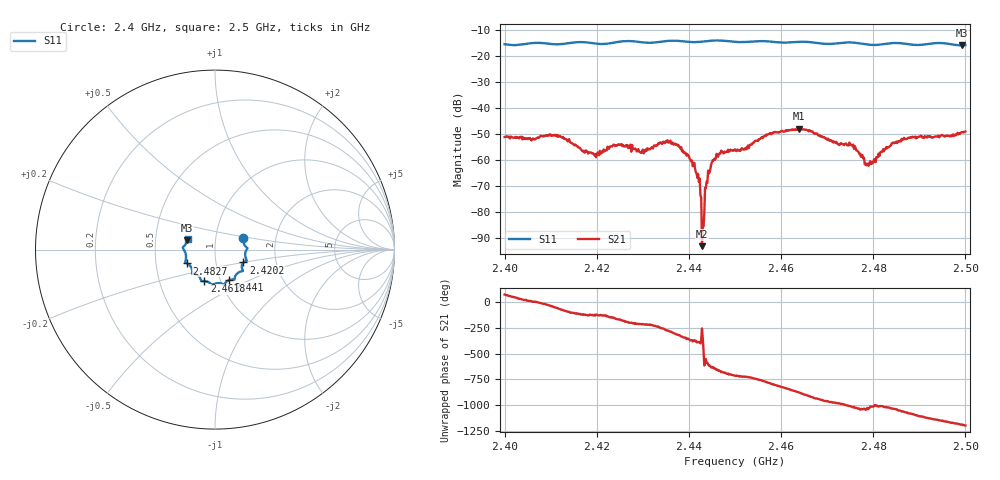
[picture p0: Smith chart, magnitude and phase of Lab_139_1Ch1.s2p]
# Hz S RI R 50
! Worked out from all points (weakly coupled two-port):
!   601 points, 2.4 GHz to 2.5 GHz, reference 50 ohm
!   highest |S21| = -47.87 dB at 2.4638 GHz (marker M1); lowest = -93.2 dB at 2.4428 GHz (marker M2)
!   lowest |S11| = -15.8 dB at 2.4993 GHz (marker M3), VSWR 1.39, Z = 36.5 + j3.82 ohm
!   |S11| at or under -10 dB: start of sweep to end of sweep
!   S12 and S22 are empty: the file has one direction only
!   S11 on the Smith chart (normalised r, x): 2.4 GHz: 1.36, +0.18; 2.4202 GHz: 1.36, -0.20; 2.441 GHz: 1.10, -0.39; 2.4618 GHz: 0.84, -0.30; 2.4827 GHz: 0.72, -0.12; 2.5 GHz: 0.73, +0.09
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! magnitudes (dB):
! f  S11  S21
! 2.4 GHz  -15.4  -51.1
! 2.411 GHz  -15.4  -50.5
! 2.4167 GHz  -14.5  -56.1
! 2.4202 GHz  -15.2  -57.1
! 2.4333 GHz  -14.5  -53.6
! 2.4375 GHz  -14.1  -54.3
! 2.441 GHz  -14.6  -61.8
! 2.4418 GHz  -14.5  -66.8
! 2.4428 GHz  -14.4  -93.2
! 2.4433 GHz  -14.3  -80.8
! 2.444 GHz  -14.2  -68.7
! 2.4455 GHz  -13.9  -59.5
! 2.45 GHz  -14.4  -55.8
! 2.4618 GHz  -14.7  -48.5
! 2.4638 GHz  -14.4  -47.9
! 2.4667 GHz  -14.6  -49.0
! 2.4752 GHz  -14.7  -54.1
! 2.4787 GHz  -15.5  -61.9
! 2.4827 GHz  -15.2  -55.7
! 2.4833 GHz  -15.0  -55.0
! 2.4993 GHz  -15.8  -49.2
! 2.5 GHz  -15.7  -49.0
